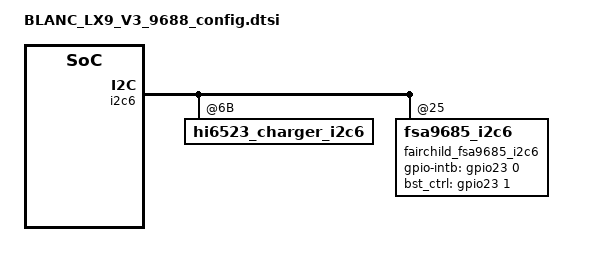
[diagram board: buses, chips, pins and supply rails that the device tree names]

/**
 * Copyright (C) 2014 Hisilicon Ltd.
 *
 *  This program is free software; you can redistribute it and/or modify
 *  it under the terms of the GNU General Public License version 2 as
 *  publishhed by the Free Software Foundation.
 */

/include/ "BLANC_LX9_V1_config.dtsi"

/ {
	hisi,boardid = <6 4 5 3>;
	hisi,boardname = "BLANC_LX9_V3_9688";
	hisi,product_id = <0x39011000>;
	hisi,modem_id = <0x39011000>;
	direct_charger: direct_charger{
		scp_work_on_charger = <0>;
		status = "ok";
	};
	amba {
		i2c6: i2c@FFD6A000 {
			hi6523_charger_i2c6: hi6523_charger_i2c6@6B{
				status = "ok";
				fcp_support = <0>;
				scp_support = <0>;
				scp_need_extra_power = <0>;
				bst_ctrl_use_common_gpio = <0>;
			};
			fairchild_fsa9685_i2c6: fsa9685_i2c6@25{
				fairchild_fsa9685,gpio-intb = <&gpio23 0 0>;
				bst_ctrl = <&gpio23 1 0>;
				status = "ok";
			};
		};
	};
	devcheck: devcheck {
		usb_switch = <1>;
		status = "ok";
	};
	hisi_usb: hisi_usb@ff200000 {
		set_hi_impedance = <0x1>;
	};
	sensorhub{
		als_sensor:light{
			als1{
				als_phone_version = <12>;
			};
			als2{
				als_phone_version = <12>;
			};
		};
	};
};
